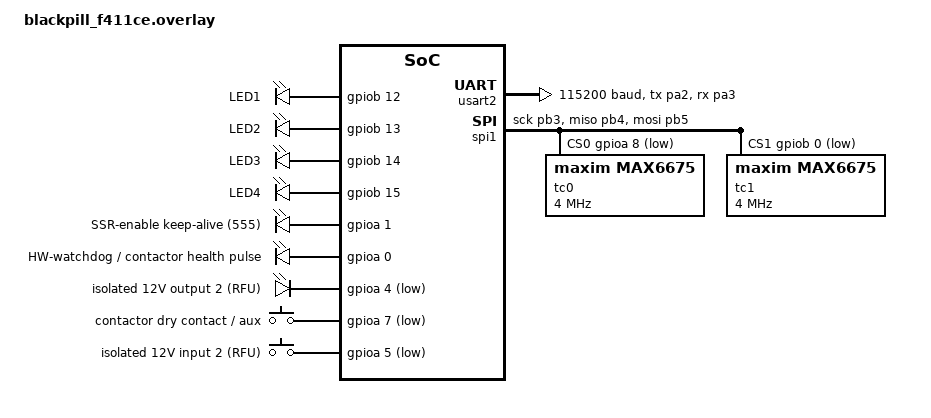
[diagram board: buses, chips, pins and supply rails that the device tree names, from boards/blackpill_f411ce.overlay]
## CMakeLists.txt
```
# Copyright (c) 2026 Guilherme Luiz Moritz
# SPDX-License-Identifier: Apache-2.0
#
# labsc_filament_oven — safety-oriented oven controller (Zephyr + ESP32-C6).
# See docs/ARCHITECTURE.md for the design this firmware implements.

cmake_minimum_required(VERSION 3.20.0)

find_package(Zephyr REQUIRED HINTS $ENV{ZEPHYR_BASE})
project(labsc_filament_oven C)

target_sources(app PRIVATE
  src/main.c
  src/shared.c
  src/fault.c
  src/oven_state.c
  src/contactor.c
  src/diagnostics.c
  src/pid.c
  src/pid_pub.c
  src/pid_thread.c
  src/output_thread.c
  src/watchdog_thread.c
  src/shell_cmds.c
)

# Bench diagnostics consumer. The publication side (src/pid_pub.c) is in every
# image by design — see pid_pub.h; only the reader is optional.
target_sources_ifdef(CONFIG_OVEN_DEBUG app PRIVATE src/oven_debug.c)

# --- Workaround: hal_espressif ESP32-C6 SPI HAL bug --------------------------
# In the hal_espressif revision pinned by this container's Zephyr (main HEAD),
# zephyr/esp32c6/CMakeLists.txt compiles esp_hal_gpspi/spi_hal.c unconditionally
# but gates the per-SoC esp32c6/spi_periph.c (which *defines* spi_periph_signal)
# behind CONFIG_PM_POWER_DOWN_PERIPHERAL_IN_LIGHT_SLEEP — a symbol that does not
# exist for the C6, so it is never true. Result: any C6 SPI build fails to link
# with an undefined reference to spi_periph_signal. The two MAX6675 thermocouple
# readers ride SPI, so we hit it. Add the missing source ourselves.
# Remove once the container's Zephyr/hal_espressif revision fixes this.
if(CONFIG_SOC_SERIES_ESP32C6 AND CONFIG_SPI)
  zephyr_library_sources(
    ${ZEPHYR_HAL_ESPRESSIF_MODULE_DIR}/components/esp_hal_gpspi/${CONFIG_SOC_SERIES}/spi_periph.c)
endif()
```

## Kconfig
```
# Copyright (c) 2026 Guilherme Luiz Moritz
# SPDX-License-Identifier: Apache-2.0
#
# Application Kconfig — bench debug facilities only.
#
# Everything under OVEN_DEBUG is TEST/BENCH ONLY and defaults to 'n', so a field
# image built from prj.conf alone contains none of it: no debug thread, no LED,
# no trace, no preset gains. debug.conf is the only file that turns any of it on
# (architecture, "Test & Validation Plan").

menu "labsc_filament_oven debug facilities"

config OVEN_DEBUG
	bool "Bench debug facilities (NOT for field images)"
	default n
	help
	  Master switch for the bench instrumentation: the status LED, the
	  per-cycle PID trace and the preset bench tuning. Compiles in the
	  debug thread (src/oven_debug.c) at a preemptible priority so it can
	  never delay the two cooperative real-time threads.

	  Leave this off for anything that drives a real oven.

if OVEN_DEBUG

config OVEN_DEBUG_LED
	bool "PID-cycle status LED"
	default y
	depends on DT_HAS_WORLDSEMI_WS2812_I2S_ENABLED
	select LED_STRIP
	help
	  Drive the on-module WS2812 RGB LED as a PID-cycle indicator: a white
	  flash at the start of every control cycle, then red for a fraction of
	  the rest of the cycle proportional to the commanded heater power.

	  Requires the bench DT overlay that instantiates the LED (see
	  debug/<board>.overlay).

config OVEN_DEBUG_LED_LEVEL
	int "Status LED brightness (0-255)"
	default 48
	range 1 255
	depends on OVEN_DEBUG_LED
	help
	  Per-channel WS2812 level. These LEDs are painfully bright at full
	  scale; the default is deliberately dim but clearly visible.

config OVEN_DEBUG_LED_FLASH_MS
	int "White cycle-start flash duration (ms)"
	default 100
	range 1 500
	depends on OVEN_DEBUG_LED
	help
	  Width of the white flash that marks the start of each control cycle.
	  The red power bar occupies the remainder of the cycle
	  (OVEN_PID_PERIOD_MS minus this), so this must stay below the control
	  period; the code BUILD_ASSERTs that.

config OVEN_DEBUG_PID_TRACE
	bool "Per-cycle PID diagnostics trace"
	default y
	depends on LOG
	help
	  Compile the diagnostics capture into the control law (pid.c records
	  the term breakdown into its state) and emit two log lines per control
	  cycle from the debug thread: the loop I/O line and the term-breakdown
	  line.

	  The capture is plain assignment into caller-owned state — no locking,
	  no allocation, nothing that can block the PID thread. With this option
	  off, not one byte of it is compiled in.

config OVEN_DEBUG_PRESET
	bool "Apply bench setpoint and gains at boot"
	default y
	help
	  Seed the shared setpoint and gains at startup so the loop does
	  something observable without an OPC UA client or a shell session.

	  This does NOT arm the oven. The system still boots DISARMED and the
	  Output thread still refuses to pulse the SSR keep-alive until it is
	  armed and fault-free, so a non-zero commanded power energizes nothing.

if OVEN_DEBUG_PRESET

config OVEN_DEBUG_SETPOINT_CC
	int "Bench setpoint (centi-degC)"
	default 6000
	help
	  Must sit inside the plausibility window (OVEN_TEMP_VALID_MIN_CC ..
	  OVEN_TEMP_VALID_MAX_CC) and below the protection-zone absolute limit
	  (OVEN_SENSOR_B_ABS_LIMIT_CC); the code BUILD_ASSERTs both. Default is
	  60.00 degC.

config OVEN_DEBUG_KP_M
	int "Bench proportional gain, x1000"
	default 1000

config OVEN_DEBUG_KI_M
	int "Bench integral gain, x1000"
	default 1000

config OVEN_DEBUG_KD_M
	int "Bench derivative gain, x1000"
	default 0

endif # OVEN_DEBUG_PRESET

endif # OVEN_DEBUG

endmenu

source "Kconfig.zephyr"
```

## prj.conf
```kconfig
# Copyright (c) 2026 Guilherme Luiz Moritz
# SPDX-License-Identifier: Apache-2.0
#
# labsc_filament_oven base configuration. See docs/ARCHITECTURE.md.
#
# ---------------------------------------------------------------------------
# Thread priority audit (architecture §"Thread priority audit").
# All application thread priorities are pinned EXPLICITLY in code
# (K_THREAD_DEFINE), never left to defaults. Cooperative negative priorities
# are used for the two real-time threads so they cannot be preempted by
# background work; the watchdog runs at the lowest preemptible priority so it
# starves first and the hardware watchdog expires — that starvation is the
# detector, by design.
#
#   PID thread      : K_PRIO_COOP(1)  (highest real-time)
#   Output thread   : K_PRIO_COOP(2)  (just below PID)
#   Watchdog thread : K_PRIO_PREEMPT(CONFIG_NUM_PREEMPT_PRIORITIES-1) (lowest)
#   main / log / shell / net : background preemptible
#
# The two RT threads are cooperative so background work cannot preempt them;
# they yield only by blocking (PID on its release semaphore, Output on its
# period sleep). The exact values live in src/oven_threads.h and each thread
# __ASSERTs its own actual priority at startup.
# ---------------------------------------------------------------------------

# --- No dynamic allocation (safety requirement) ------------------------------
# The application allocates nothing on the heap. A tiny pool is kept only
# because some subsystems insist on a non-zero size; the app never calls
# k_malloc.
CONFIG_HEAP_MEM_POOL_SIZE=256

# --- Real-time scheduling ----------------------------------------------------
CONFIG_NUM_COOP_PRIORITIES=16
CONFIG_NUM_PREEMPT_PRIORITIES=16
CONFIG_TIMESLICING=n
CONFIG_MAIN_THREAD_PRIORITY=10

# --- Drivers required by the carrier -----------------------------------------
CONFIG_GPIO=y
CONFIG_SPI=y
CONFIG_SENSOR=y
CONFIG_MAX6675=y
CONFIG_WATCHDOG=y

# --- Diagnostics / robustness ------------------------------------------------
CONFIG_LOG=y
CONFIG_LOG_BACKEND_SHOW_COLOR=n
CONFIG_LOG_MODE_DEFERRED=y
CONFIG_THREAD_NAME=y
CONFIG_THREAD_MONITOR=y
CONFIG_THREAD_STACK_INFO=y
# HW_STACK_PROTECTION gives the MPU (ARM) / PMP (RISC-V) stack guard, which
# supersedes the software STACK_SENTINEL wherever it is available — so the
# sentinel is intentionally not requested (it would be forced off anyway).
CONFIG_HW_STACK_PROTECTION=y
CONFIG_ASSERT=y

# --- Asserts are SOFT: stop driving, keep monitoring -------------------------
# Zephyr's default assert_post_action() panics, which halts the very threads
# that report what went wrong. This project overrides it (src/shared.c) to raise
# a fault instead: latch FAULTED, drop the actuator, stay alive and diagnosable.
#
# ASSERT_TEST is what makes that legal. It removes the CODE_UNREACHABLE that
# Zephyr otherwise emits after the post-action hook, so a custom hook is allowed
# to return instead of aborting. Without it, our override is undefined
# behaviour. Named for its origin in Zephyr's assert tests; it is the supported
# mechanism for a returning hook.
CONFIG_ASSERT_TEST=y

# Zephyr's own "@ file:line" print happens inside the __ASSERT macro, before our
# hook runs, so the hook cannot rate-limit it — and a soft assert on a per-cycle
# path repeats forever. Turn it off: assert_post_action() still receives file and
# line and logs them itself, rate-limited, so nothing is lost.
CONFIG_ASSERT_VERBOSE=n

# --- Latched-fault retention -------------------------------------------------
# The fault record survives a warm reset via a noinit RAM section so the system
# boots into FAULTED after a safety trip (architecture §"Latched fault across
# reboot"). NVS mirroring is future work.
CONFIG_REBOOT=y
CONFIG_CRC=y

# --- Shell is OFF in the base image ------------------------------------------
# The fault-injection harness (debug.conf) is the only place a shell is enabled;
# an interactive shell must not be present in a field build.
CONFIG_SHELL=n
```

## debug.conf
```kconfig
# Copyright (c) 2026 Guilherme Luiz Moritz
# SPDX-License-Identifier: Apache-2.0
#
# Test / bench build ONLY. Adds the shell that the future fault-injection
# harness hangs off (architecture §"Test & Validation Plan"). NEVER ship a
# field image built with this file — an interactive shell on the control unit
# is a safety hazard.
#
#   west build -b <board> . -- -DEXTRA_CONF_FILE=debug.conf

CONFIG_SHELL=y
CONFIG_SHELL_BACKEND_SERIAL=y
CONFIG_KERNEL_SHELL=y
CONFIG_THREAD_ANALYZER=y
CONFIG_THREAD_ANALYZER_USE_LOG=y

# --- Source-level debugging (JTAG) ---
#
# Zephyr defaults to CONFIG_SIZE_OPTIMIZATIONS (-Os), which inlines, reorders
# and elides locals — single-stepping jumps around and variables read
# <optimized out>. -O0 makes the source map 1:1 with the instruction stream.
# Costs image size and stack depth; acceptable here (4 MB flash), and this file
# is bench-only anyway.
CONFIG_NO_OPTIMIZATIONS=y

# OpenOCD's "Zephyr" RTOS plugin — which boards/esp32c6-zephyr.cfg selects —
# needs this symbol table to enumerate threads. Without it you only ever see
# the bare CPU.
CONFIG_DEBUG_THREAD_INFO=y

# --- Bench instrumentation ---------------------------------------------------
# Status LED, per-cycle PID trace and preset bench tuning. See the project
# Kconfig for the individual switches and src/oven_debug.c for what they do.
# The LED needs the matching DT overlay (debug/<board>.overlay), which
# scripts/zephyr-project.sh applies alongside this file.
CONFIG_OVEN_DEBUG=y

# --- Diagnostics output routing ----------------------------------------------
# Send the log stream to the USB-Serial-JTAG (/dev/ttyACM0) instead of the
# console UART, via the chosen zephyr,log-uart node in the debug overlay. On
# this devkit uart0 is a physically different connector.
#
# LOG_BACKEND_UART defaults to 'n' as soon as SHELL_BACKEND_SERIAL is on (the
# shell would carry the logs itself), so it has to be asked for explicitly; and
# the shell's own log backend is turned off so trace lines are not duplicated
# onto the console.
CONFIG_LOG_BACKEND_UART=y
CONFIG_SHELL_LOG_BACKEND=n

# Two trace lines per control cycle, each with ~15 packed arguments. Deferred
# logging needs room for them plus the boot chatter.
CONFIG_LOG_BUFFER_SIZE=4096
CONFIG_LOG_PROCESS_THREAD_STACK_SIZE=2048
```

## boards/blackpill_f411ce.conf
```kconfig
# Board-scoped Kconfig for blackpill_f411ce (STM32F411CE).
#
# Secondary, CONTROL-ONLY target: the F411 has no Wi-Fi, so OPC UA / networking
# is ESP32-C6-only. This target exercises the control + safety core (threads,
# MAX6675 reads, keep-alive/watchdog pulses) on the diversified MCU of the
# dual-socket carrier.
CONFIG_GPIO=y
CONFIG_SPI=y
```

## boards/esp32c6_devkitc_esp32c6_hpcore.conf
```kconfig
# Board-scoped Kconfig for esp32c6_devkitc/esp32c6/hpcore.
#
# The base prj.conf already selects GPIO/SPI/SENSOR/MAX6675/WATCHDOG. This file
# is the place for C6-specific overrides.
#
# Brownout: the architecture ("Boot, Reset, Flashing") requires the brownout
# detector on, treating a brownout reset like any other reset (boot disarmed).
# CONFIG_ESP_BROWNOUT_DET is defined only when hal_espressif's esp_system menu
# is sourced (it is not in this minimal build) and is enabled by the SoC default
# regardless, so it is intentionally NOT overridden here. Re-assert it once the
# esp_system/Wi-Fi path is pulled in by the OPC-UA milestone.
```

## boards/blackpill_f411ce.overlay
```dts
/*
 * Copyright (c) 2026 Guilherme Luiz Moritz
 * SPDX-License-Identifier: Apache-2.0
 *
 * Board overlay: WeAct STM32F411CE "Black Pill" — secondary CONTROL-ONLY target
 * for the labsc_filament_oven controller on the dual-socket carrier. No Wi-Fi,
 * so no OPC UA / networking here; this target exercises the control + safety
 * core on the diversified MCU. See docs/ARCHITECTURE.md and the carrier pin map
 * (labsc_zephyr_lorawan/PINMAP.md).
 *
 * LoRa-free oven variant: the LR1121 node and all USP/lr11xx includes are gone;
 * the shared SPI1 bus carries only the two MAX6675 readers.
 *
 *   LEFT row                          RIGHT row
 *   b0  PB12  LED1                    b6   PB0   TEMP2 CS (tc1 / SENSOR B)
 *   b1  PB13  LED2                    b7   PA7   opto IN1 (contactor aux)
 *   b2  PB14  LED3                    b9   PA5   opto IN2 (RFU / arm button)
 *   b3  PB15  LED4                    b10  PA4   opto OUT2 (RFU)
 *   b4  PA8   TEMP1 CS (tc0/SENSOR A) b11  PA3   USART2 RX (console)
 *   b10 PB3   SPI1 SCK                b12  PA2   USART2 TX (console)
 *   b11 PB4   SPI1 MISO               b13  PA1   SSR-enable keep-alive (555)
 *   b12 PB5   SPI1 MOSI               b14  PA0   HW-watchdog / contactor pulse
 *
 * PA11/PA12 (USB D-/D+) are BANNED from carrier nets, so TEMP1 CS is on PA8
 * (b4-left), not PA12. SPI1 uses the PB3/PB4/PB5 alternate mapping.
 */

#include <zephyr/dt-bindings/input/input-event-codes.h>

/ {
	chosen {
		zephyr,console = &usart2;
		zephyr,shell-uart = &usart2;
	};
	aliases {
		tc0 = &tc0;
		tc1 = &tc1;
		keepalive-out = &keepalive_out;
		hw-wdt-out = &hw_wdt_out;
		opto-out2 = &opto_out2;
		opto-in1 = &opto_in1;
		opto-in2 = &opto_in2;
		led0 = &led1;
		led1 = &led2;
		led2 = &led3;
		led3 = &led4;
	};

	/* Status LEDs — BlackPill-only (no ESP32-C6 neighbour on rows b0-b3). */
	status_leds {
		compatible = "gpio-leds";
		led1: led_1 { gpios = <&gpiob 12 GPIO_ACTIVE_HIGH>; label = "LED1"; };
		led2: led_2 { gpios = <&gpiob 13 GPIO_ACTIVE_HIGH>; label = "LED2"; };
		led3: led_3 { gpios = <&gpiob 14 GPIO_ACTIVE_HIGH>; label = "LED3"; };
		led4: led_4 { gpios = <&gpiob 15 GPIO_ACTIVE_HIGH>; label = "LED4"; };
	};

	/*
	 * Software-toggled safety pulse outputs (NEVER hardware PWM). See the
	 * esp32c6 overlay and docs/ARCHITECTURE.md §"HARD DESIGN RULE".
	 */
	failsafe_outputs {
		compatible = "gpio-leds";
		keepalive_out: keepalive {
			gpios = <&gpioa 1 GPIO_ACTIVE_HIGH>;    /* PA1, b13-right (D21) */
			label = "SSR-enable keep-alive (555)";
		};
		hw_wdt_out: hw-wdt {
			gpios = <&gpioa 0 GPIO_ACTIVE_HIGH>;    /* PA0, b14-right (D20) */
			label = "HW-watchdog / contactor health pulse";
		};
	};

	opto_outputs {
		compatible = "gpio-leds";
		opto_out2: out2 {
			gpios = <&gpioa 4 GPIO_ACTIVE_LOW>;     /* PA4, b10-right (D15) */
			label = "isolated 12V output 2 (RFU)";
		};
	};

	/* ACTIVE LOW with external pull-ups: opto failure reads as asserted. */
	opto_inputs {
		compatible = "gpio-keys";
		opto_in1: in1 {
			gpios = <&gpioa 7 (GPIO_ACTIVE_LOW | GPIO_PULL_UP)>;   /* PA7, b7-right (D3) */
			label = "contactor dry contact / aux";
			zephyr,code = <INPUT_KEY_0>;
		};
		opto_in2: in2 {
			gpios = <&gpioa 5 (GPIO_ACTIVE_LOW | GPIO_PULL_UP)>;   /* PA5, b9-right (D23) */
			label = "isolated 12V input 2 (RFU)";
			zephyr,code = <INPUT_KEY_1>;
		};
	};
};

/* USART2 (PA2/PA3) is the only carrier-reachable UART — the console. */
&usart1 {
	status = "disabled";
};

&usart2 {
	pinctrl-0 = <&usart2_tx_pa2 &usart2_rx_pa3>;
	pinctrl-names = "default";
	current-speed = <115200>;
	status = "okay";
};

&spi1 {
	status = "okay";
	/* PB3/PB4/PB5 alternate mapping — one contiguous bus run on the carrier. */
	pinctrl-0 = <&spi1_sck_pb3 &spi1_miso_pb4 &spi1_mosi_pb5>;
	pinctrl-names = "default";

	cs-gpios = <&gpioa 8 GPIO_ACTIVE_LOW>,   /* reg 0: TEMP1 (PA8, b4-left)  -> tc0 / SENSOR A */
		   <&gpiob 0 GPIO_ACTIVE_LOW>;   /* reg 1: TEMP2 (PB0, b6-right) -> tc1 / SENSOR B */

	tc0: max6675@0 {
		compatible = "maxim,max6675";
		reg = <0>;
		spi-max-frequency = <DT_FREQ_M(4)>;
	};

	tc1: max6675@1 {
		compatible = "maxim,max6675";
		reg = <1>;
		spi-max-frequency = <DT_FREQ_M(4)>;
	};
};

/*
 * Bare (non-MCUboot) flash layout: a large code partition plus a 128 K storage
 * sector (the smallest independently erasable unit at the top of STM32F4 flash)
 * reserved for the future NVS mirror of the latched-fault record.
 */
/ {
	chosen {
		zephyr,code-partition = &slot0_partition;
	};
};

&flash0 {
	/delete-node/ partitions;

	partitions {
		compatible = "fixed-partitions";
		#address-cells = <1>;
		#size-cells = <1>;

		slot0_partition: partition@0 {
			label = "image-0";
			reg = <0x00000000 DT_SIZE_K(384)>;
		};
		storage_partition: partition@60000 {
			label = "storage";
			reg = <0x00060000 DT_SIZE_K(128)>;
		};
	};
};
```

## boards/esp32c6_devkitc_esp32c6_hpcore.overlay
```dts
/*
 * Copyright (c) 2026 Guilherme Luiz Moritz
 * SPDX-License-Identifier: Apache-2.0
 *
 * Board overlay: ESP32-C6-DevKitC (interim host) for the labsc_filament_oven
 * controller on the dual-socket carrier. See docs/ARCHITECTURE.md.
 *
 * This is the LoRa-free oven variant of the carrier overlay: the LR1121 node
 * and all USP/lr11xx includes are removed; the shared SPI bus now carries only
 * the two MAX6675 thermocouple readers. GPIO assignments are unchanged from the
 * carrier pin map (labsc_zephyr_lorawan/PINMAP.md) — every net still lands on
 * both the C6 and the BlackPill socket.
 *
 * Carrier constraints still honoured here:
 *   - GPIO12/13 native USB               -> unused
 *   - GPIO8 strapping + onboard RGB LED  -> unrouted (indicator parity)
 *   - GPIO9 strapping                    -> unused
 *   - GPIO15 JTAG-source strap           -> active-low OUTPUT only (OPTO_OUT2)
 *   - GPIO16 ROM UART TX                 -> console, output-only
 *
 * Role assignment (architecture §"Role separation"). The oven is two chambers
 * with a fan moving air from the heated one into the filament one:
 *
 *   tc0 = TEMP1 (D4) = SENSOR A = FILAMENT CHAMBER (the cooler, downstream one)
 *                      control zone, PID input.
 *   tc1 = TEMP2 (D2) = SENSOR B = HEAT CHAMBER (where the heater is, hottest)
 *                      protection zone, absolute-limit only, never read by the PID.
 *
 * DO NOT SWAP THESE AT THE CONNECTORS. The protection sensor belongs at the
 * hottest point, and this assignment is also what makes fan failure a covered
 * failure: with the fan stopped the heat chamber climbs while the filament
 * chamber cools, the PID reads "cold" and commands full power, and tc1 trips the
 * absolute limit. Reversed, that same sequence is an undetected runaway.
 * Software cannot detect the swap at a cold start — key and label the connectors.
 */

#include <zephyr/dt-bindings/pinctrl/esp32c6-pinctrl.h>
#include <zephyr/dt-bindings/input/input-event-codes.h>

/ {
	aliases {
		tc0 = &tc0;               /* SENSOR A — control */
		tc1 = &tc1;               /* SENSOR B — protection */
		keepalive-out = &keepalive_out;   /* SSR-enable pulse (555) */
		hw-wdt-out = &hw_wdt_out;          /* external HW-watchdog / contactor pulse */
		opto-out2 = &opto_out2;
		opto-in1 = &opto_in1;              /* contactor dry contact / aux */
		opto-in2 = &opto_in2;              /* RFU — arm-button candidate */
	};

	/*
	 * Safety pulse outputs. Both are toggled from SOFTWARE only — never a
	 * hardware PWM/LEDC/RMT peripheral. A hung CPU keeps hardware PWM running
	 * forever and would silently defeat the missing-pulse detectors
	 * (architecture §"HARD DESIGN RULE"). gpio-leds is reused only as a
	 * generic GPIO-output binding.
	 *
	 *   keepalive_out : SSR-enable. 120 Hz keep-alive from the Output thread,
	 *                   gated on ARMED + PID freshness + fault word. Stop -> 555
	 *                   times out -> SSR gate power removed (layer 4).
	 *   hw_wdt_out    : health pulse from the Watchdog thread, gated on overall
	 *                   liveness + fault word == 0. Feeds the external hardware
	 *                   watchdog (layer 3) and the contactor-enable missing-pulse
	 *                   detector (layer 5), which re-arms only via the physical
	 *                   button.
	 */
	failsafe_outputs {
		compatible = "gpio-leds";
		keepalive_out: keepalive {
			gpios = <&gpio0 21 GPIO_ACTIVE_HIGH>;   /* D21, b13-right (PA1) */
			label = "SSR-enable keep-alive (555)";
		};
		hw_wdt_out: hw-wdt {
			gpios = <&gpio0 20 GPIO_ACTIVE_HIGH>;   /* D20, b14-right (PA0) */
			label = "HW-watchdog / contactor health pulse";
		};
	};

	/*
	 * Isolated 12 V open-drain output. OUT2 sits on D15 (JTAG-source strap):
	 * driven ACTIVE LOW into the opto with an external pull-up, so Hi-Z at reset
	 * = pin high = strap satisfied AND output inactive. Never an input.
	 */
	opto_outputs {
		compatible = "gpio-leds";
		opto_out2: out2 {
			gpios = <&gpio0 15 GPIO_ACTIVE_LOW>;    /* D15, b10-right (PA4) */
			label = "isolated 12V output 2 (RFU)";
		};
	};

	/*
	 * Optocoupled dry-contact inputs: a phototransistor grounding an external
	 * pull-up, read ACTIVE LOW (contact closed -> LED lit -> transistor
	 * conducts -> line low).
	 *
	 * CORRECTION: this comment used to claim that a failed or unpowered
	 * optocoupler reads as ASSERTED, i.e. that the sense fails toward alarm.
	 * That is NOT true of this topology — a dead phototransistor, a burnt LED
	 * or a broken wire leaves the pull-up in charge and reads DEASSERTED. The
	 * part can fail either way and no assumption about its resting level is
	 * safe.
	 *
	 * Nothing in the firmware relies on one. The interlock sequence requires
	 * the feedback to CHANGE on command before the oven may arm, which catches
	 * a sensor stuck at either level (architecture §"Contactor feedback
	 * failure modes"; src/contactor.h).
	 *
	 * Validation-only via gpio-keys; no input driver is enabled.
	 */
	opto_inputs {
		compatible = "gpio-keys";
		opto_in1: in1 {
			gpios = <&gpio0 3 (GPIO_ACTIVE_LOW | GPIO_PULL_UP)>;    /* D3, b7-right (PA7) */
			label = "contactor dry contact / aux";
			zephyr,code = <INPUT_KEY_0>;
		};
		opto_in2: in2 {
			gpios = <&gpio0 23 (GPIO_ACTIVE_LOW | GPIO_PULL_UP)>;   /* D23, b11-right (PA5) */
			label = "isolated 12V input 2 (RFU)";
			zephyr,code = <INPUT_KEY_1>;
		};
	};
};

/*
 * Shared SPI bus for the two MAX6675 readers: SCLK=GPIO6, MISO=GPIO7,
 * MOSI=GPIO0 (unused by the read-only MAX6675 but part of the bus pinctrl).
 */
&pinctrl {
	spim2_tc: spim2_tc {
		group1 {
			pinmux = <SPIM2_MISO_GPIO7>,
				 <SPIM2_SCLK_GPIO6>;
		};
		group2 {
			pinmux = <SPIM2_MOSI_GPIO0>;
			output-low;
		};
	};
};

/* i2c0 shares GPIO6/GPIO7 with spi2; disable so the TC bus owns them. */
&i2c0 {
	status = "disabled";
};

/*
 * Radios are off for the control/bootstrap milestone. The OPC-UA-over-Wi-Fi
 * milestone re-enables &wifi; leave it disabled until then to keep the RAM
 * footprint honest.
 */
&wifi {
	status = "disabled";
};
&esp32_bt_hci {
	status = "disabled";
};
&ieee802154 {
	status = "disabled";
};

&spi2 {
	status = "okay";
	pinctrl-0 = <&spim2_tc>;
	pinctrl-names = "default";

	/*
	 * One CS per device, indexed by each child's reg. Separate CS lines with
	 * independent pull-ups so a floating CS during reset cannot leave a
	 * converter driving MISO (architecture §"Shared-bus common-cause").
	 * Neither CS sits on a strapping pin.
	 */
	cs-gpios = <&gpio0 4 GPIO_ACTIVE_LOW>,   /* reg 0: TEMP1 (D4, b8-left)  -> tc0 / SENSOR A */
		   <&gpio0 2 GPIO_ACTIVE_LOW>;   /* reg 1: TEMP2 (D2, b6-right) -> tc1 / SENSOR B */

	/*
	 * Two MAX6675 K-type thermocouple-to-digital converters. Read-only
	 * (SCK + SO + CS, no MOSI); SO tri-states when deselected. Conversion
	 * ~0.17-0.22 s, comfortably inside the 500 ms PID period. NOTE: MAX6675
	 * detects OPEN thermocouple only (no short-to-GND/VCC) — the protection
	 * sensor (tc1) would ideally be a MAX31855/31856; tracked in SAFETY-STATUS.
	 */
	/* SENSOR A — filament chamber (cool side). PID control input. */
	tc0: max6675@0 {
		compatible = "maxim,max6675";
		reg = <0>;
		spi-max-frequency = <DT_FREQ_M(4)>;
	};

	/* SENSOR B — heat chamber (hot side). Absolute safety limit only. */
	tc1: max6675@1 {
		compatible = "maxim,max6675";
		reg = <1>;
		spi-max-frequency = <DT_FREQ_M(4)>;
	};
};
```

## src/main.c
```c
/*
 * Copyright (c) 2026 Guilherme Luiz Moritz
 * SPDX-License-Identifier: Apache-2.0
 *
 * labsc_filament_oven — application entry.
 *
 * Responsibilities (architecture, "Boot, Reset, Flashing" + "Safe State"):
 *   - Never boot armable. main() leaves the state in INIT; only the Watchdog
 *     thread's interlock sequence can advance it (see oven_state.h), and only
 *     after a human has closed the contactor by hand.
 *   - Restore any latched fault so a safety trip survives the reboot.
 *   - Configure the field I/O, verify every required device, then release the
 *     PID / Output / Watchdog threads.
 *
 * After init, main() drops to the lowest useful role: a slow status heartbeat.
 * The real work lives in the three threads; main holds no safety responsibility.
 */

#include "shared.h"
#include "fault.h"
#include "oven_state.h"
#include "oven_threads.h"
#include "oven_debug.h"
#include "contactor.h"
#include "diagnostics.h"

#include <zephyr/kernel.h>
#include <zephyr/device.h>
#include <zephyr/drivers/gpio.h>
#include <zephyr/logging/log.h>

LOG_MODULE_REGISTER(main, LOG_LEVEL_INF);

#define HEARTBEAT_PERIOD_MS   (1000U)

/* Field I/O owned by main (the threads own the two safety pulse pins). */
static const struct gpio_dt_spec s_opto_out2 =
	GPIO_DT_SPEC_GET(DT_ALIAS(opto_out2), gpios);
static const struct gpio_dt_spec s_opto_in1 =
	GPIO_DT_SPEC_GET(DT_ALIAS(opto_in1), gpios);
static const struct gpio_dt_spec s_opto_in2 =
	GPIO_DT_SPEC_GET(DT_ALIAS(opto_in2), gpios);

/* Status LEDs are BlackPill-only; the C6 has none (uses its RGB, not driven). */
#if DT_NODE_EXISTS(DT_ALIAS(led0))
static const struct gpio_dt_spec s_led0 = GPIO_DT_SPEC_GET(DT_ALIAS(led0), gpios);
#define OVEN_HAS_LED0 1
#else
#define OVEN_HAS_LED0 0
#endif

static bool configure_field_io(void)
{
	bool ok = true;

	if (gpio_is_ready_dt(&s_opto_out2)) {
		(void)gpio_pin_configure_dt(&s_opto_out2, GPIO_OUTPUT_INACTIVE);
	} else {
		ok = false;
	}

	if (gpio_is_ready_dt(&s_opto_in1)) {
		(void)gpio_pin_configure_dt(&s_opto_in1, GPIO_INPUT);
	} else {
		ok = false;
	}

	if (gpio_is_ready_dt(&s_opto_in2)) {
		(void)gpio_pin_configure_dt(&s_opto_in2, GPIO_INPUT);
	} else {
		ok = false;
	}

#if OVEN_HAS_LED0
	if (gpio_is_ready_dt(&s_led0)) {
		(void)gpio_pin_configure_dt(&s_led0, GPIO_OUTPUT_INACTIVE);
	}
#endif

	return ok;
}

static void restore_latched_fault(void)
{
	uint32_t cause = 0U;

	if (fault_record_load(&cause)) {
		LOG_ERR("Latched fault restored: cause=0x%08x -> booting FAULTED",
			cause);
		fault_raise(cause | (uint32_t)OVEN_FAULT_RESTORED);
	}
}

static void verify_devices(void)
{
	if (!pid_devices_ready()) {
		LOG_ERR("thermocouple device(s) not ready");
		fault_raise((uint32_t)OVEN_FAULT_DEVICE_INIT);
	}
	if (!output_devices_ready()) {
		LOG_ERR("keep-alive output not ready");
		fault_raise((uint32_t)OVEN_FAULT_DEVICE_INIT);
	}
	if (!watchdog_devices_ready()) {
		LOG_ERR("hw-wdt output not ready");
		fault_raise((uint32_t)OVEN_FAULT_DEVICE_INIT);
	}
}

static void heartbeat(void)
{
	enum oven_state st = oven_state_get();

#if OVEN_HAS_LED0
	if (gpio_is_ready_dt(&s_led0)) {
		(void)gpio_pin_toggle_dt(&s_led0);
	}
#endif

	LOG_INF("state=%s fault=0x%08x filament=%d.%02d C heat=%d.%02d C hp=%ld pid=%ld out=%ld",
		oven_state_name(st), fault_word_get(),
		(int)(atomic_get(&g_temp_a_cc) / OVEN_CENTI),
		(int)(atomic_get(&g_temp_a_cc) % OVEN_CENTI),
		(int)(atomic_get(&g_temp_b_cc) / OVEN_CENTI),
		(int)(atomic_get(&g_temp_b_cc) % OVEN_CENTI),
		(long)atomic_get(&g_heater_power),
		(long)atomic_get(&g_pid_seq),
		(long)atomic_get(&g_output_seq));
}

int main(void)
{
	LOG_INF("labsc_filament_oven — control/safety skeleton");

	/* 1. Restore a latched fault before anything can arm. */
	restore_latched_fault();

	/* 2. Configure field I/O; a missing field pin is a device-init fault. */
	if (!configure_field_io()) {
		LOG_ERR("field I/O configuration failed");
		fault_raise((uint32_t)OVEN_FAULT_DEVICE_INIT);
	}

	/* 3. Verify the thread-owned devices. */
	verify_devices();

	/*
	 * 3b. Prove the power path starts OPEN before this firmware becomes
	 * armable. A contactor already closed at boot cannot have been closed by
	 * us — no pulse train has run yet — so it is welded, stuck, or the
	 * feedback is dead. On failure this latches FAULTED, and since arming is
	 * refused while any fault is latched, the only way out is a reboot with
	 * the contactor genuinely open.
	 */
	(void)contactor_boot_check();

	/* 3c. Clear diagnostic history before the first control cycle. */
	diag_reset();

	/* 4. Start the 500 ms PID release timer. */
	pid_thread_start();

	/*
	 * 5. NOT a state transition any more. The system leaves INIT only when
	 * the Watchdog thread has held its health pulse silent for the quiet
	 * window with the contactor open (-> AWAIT_CONTACTOR), and reaches
	 * DISARMED only once it has watched the operator close the interlock by
	 * hand. main() cannot grant either; see oven_state.h.
	 */

	/*
	 * 5b. Bench instrumentation, if this image has any. Empty inline in a
	 * field build. Runs before the threads are released so the first control
	 * cycle already sees any preset tuning. Arms nothing.
	 */
	oven_debug_init();

	/* 6. Release the threads. */
	(void)atomic_set(&g_init_done, 1);

	LOG_INF("init complete: state=%s fault=0x%08x",
		oven_state_name(oven_state_get()), fault_word_get());

	/* 7. Slow status heartbeat; no safety role. */
	for (;;) {
		heartbeat();
		k_sleep(K_MSEC(HEARTBEAT_PERIOD_MS));
	}

	return 0;
}
```

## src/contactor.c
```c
/*
 * Copyright (c) 2026 Guilherme Luiz Moritz
 * SPDX-License-Identifier: Apache-2.0
 *
 * Contactor feedback. See contactor.h for the fail-safe sense.
 */

#include "contactor.h"
#include "shared.h"

#include <zephyr/kernel.h>
#include <zephyr/device.h>
#include <zephyr/drivers/gpio.h>
#include <zephyr/logging/log.h>

LOG_MODULE_REGISTER(contactor, LOG_LEVEL_INF);

/*
 * Boot check sampling. Spread over enough time to outlast contact bounce and
 * opto settling, with every sample required to agree.
 */
#define BOOT_SAMPLES        (16U)
#define BOOT_SAMPLE_GAP_MS  (5U)      /* 16 x 5 ms = 80 ms of agreement */

static const struct gpio_dt_spec s_feedback =
	GPIO_DT_SPEC_GET(DT_ALIAS(opto_in1), gpios);

bool contactor_devices_ready(void)
{
	return gpio_is_ready_dt(&s_feedback);
}

bool contactor_is_closed(void)
{
	int val;

	/*
	 * A read error is treated as CLOSED, for the same reason the electrical
	 * sense is inverted: not knowing is not permission to heat.
	 */
	val = gpio_pin_get_dt(&s_feedback);
	if (val < 0) {
		return true;
	}

	return (val != 0);
}

bool contactor_boot_check(void)
{
	if (!contactor_devices_ready()) {
		LOG_ERR("contactor feedback not ready — cannot prove the power "
			"path is open");
		fault_raise((uint32_t)OVEN_FAULT_CONTACTOR_WELD |
			    (uint32_t)OVEN_FAULT_DEVICE_INIT);
		return false;
	}

	for (uint32_t i = 0U; i < BOOT_SAMPLES; i++) {
		if (contactor_is_closed()) {
			LOG_ERR("contactor CLOSED at boot (sample %u/%u) — welded, "
				"stuck, or feedback lost; refusing to become armable",
				i + 1U, BOOT_SAMPLES);
			fault_raise((uint32_t)OVEN_FAULT_CONTACTOR_WELD);
			return false;
		}
		k_sleep(K_MSEC(BOOT_SAMPLE_GAP_MS));
	}

	LOG_INF("contactor open at boot — power path proven clear");
	return true;
}
```

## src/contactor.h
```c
/*
 * Copyright (c) 2026 Guilherme Luiz Moritz
 * SPDX-License-Identifier: Apache-2.0
 *
 * Contactor feedback — the dry contact on opto_in1, read as proof of what the
 * power path is actually doing rather than what the firmware believes it
 * commanded.
 *
 * TRUST NO LEVEL. The sense is a phototransistor grounding an external pull-up,
 * read ACTIVE LOW: contact closed -> LED lit -> transistor conducts -> line low.
 * It can fail EITHER WAY —
 *
 *   transistor shorted, or the line shorted to ground -> reads always CLOSED
 *   transistor open, LED dead, or a broken wire       -> reads always OPEN
 *
 * — so there is no "safe" direction to assume, and this file deliberately
 * assumes neither. An earlier version of this comment (and of the board overlay)
 * claimed a failed opto reads as CLOSED. That claim is unfounded; do not
 * reintroduce it, and do not build anything on top of one.
 *
 * What makes the feedback trustworthy is not its resting level but the fact that
 * the interlock sequence REQUIRES IT TO CHANGE, on command, before the oven may
 * arm: silent watchdog must read open, then a hand-closed contactor must be
 * observed going closed. A sensor stuck at either level fails one of those two
 * phases and the oven never becomes armable. See oven_state.h for the sequence
 * and ARCHITECTURE.md for the per-failure analysis.
 *
 * The one thing this file does assume is that a READ ERROR is not permission to
 * heat — see contactor_is_closed().
 */

#ifndef OVEN_CONTACTOR_H_
#define OVEN_CONTACTOR_H_

#include <stdbool.h>

/*
 * True when the contactor reads CLOSED — or when the feedback is unavailable,
 * which is deliberately indistinguishable. Lock-free; a single GPIO read.
 */
bool contactor_is_closed(void);

/* Feedback input present and usable. */
bool contactor_devices_ready(void);

/*
 * Power-on proof that the power path starts open.
 *
 * The firmware must only come up ready to arm if it observed the contactor OPEN
 * at boot. A contactor already closed before any pulse train has been produced
 * cannot have been closed by this firmware — it is welded, stuck, or the
 * feedback is dead, and none of those may be allowed to reach ARMED.
 *
 * Returns true if the contactor was observed open. On false it has already
 * raised OVEN_FAULT_CONTACTOR_WELD, which latches FAULTED and makes arming
 * impossible until the fault is cleared by a reboot with the contactor open.
 *
 * Called by main() before leaving INIT. Samples repeatedly and requires EVERY
 * sample to read open, so a bouncing or intermittent contact fails the check.
 */
bool contactor_boot_check(void);

#endif /* OVEN_CONTACTOR_H_ */
```

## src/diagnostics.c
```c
/*
 * Copyright (c) 2026 Guilherme Luiz Moritz
 * SPDX-License-Identifier: Apache-2.0
 *
 * Process-response diagnostics. See diagnostics.h for what these are for and
 * why they are deliberately blunt.
 */

#include "diagnostics.h"
#include "shared.h"

#include <zephyr/kernel.h>
#include <zephyr/logging/log.h>

LOG_MODULE_REGISTER(oven_diag, LOG_LEVEL_INF);

/* Cycles per second of wall time, from the control period. */
#define CYCLES_PER_S            (1000U / OVEN_PID_PERIOD_MS)

/*
 * ---- 1. Frozen reading ----------------------------------------------------
 *
 * A reading that is BIT-IDENTICAL for this long is not a temperature, it is a
 * dead converter, a stuck bus, or a driver returning its last buffer. The
 * MAX6675 quantises to 0.25 degC, and no real thermocouple in a real enclosure
 * holds one quantisation step for minutes — thermal and electrical noise dither
 * the least significant bit continuously. (Watch the bench trace: the filament
 * chamber wanders across 24.00/24.25/24.50 within seconds.)
 *
 * This is the check that catches the failure the MAX6675 cannot report: it has
 * open-thermocouple detection only, so a converter that answers with a constant
 * — including a constant 0.00 degC from an absent or unselected device — passes
 * every range and validity test in the acquisition path.
 *
 * [VERIFY] the window against a real oven at steady state. Five minutes is
 * chosen to be far longer than any plausible quiet period; shorten it only with
 * evidence, because a false trip here stops a healthy oven mid-batch.
 */
#define DIAG_FROZEN_WINDOW_S    (300U)                      /* 5 minutes */
#define DIAG_FROZEN_CYCLES      (DIAG_FROZEN_WINDOW_S * CYCLES_PER_S)

/*
 * ---- Evaluation window for the two windowed checks ------------------------
 * Long enough that thermal lag and sensor noise cannot fake a trend, short
 * enough to catch a runaway well before the absolute limit does.
 */
#define DIAG_WINDOW_S           (60U)                       /* 1 minute */
#define DIAG_WINDOW_CYCLES      (DIAG_WINDOW_S * CYCLES_PER_S)

/*
 * ---- 2. Zone inversion ----------------------------------------------------
 *
 * Heat only reaches the filament chamber from the heat chamber, carried by the
 * fan. So WHENEVER THE FILAMENT CHAMBER IS RISING, the heat chamber must be
 * hotter than it — that is not a heuristic, it is the direction heat flows.
 *
 * Gating the check on "filament rising" is what makes it usable. A blanket
 * "heat >= filament" would fire on every cold start (both at ambient, noise
 * decides the order) and on every cool-down (the heat chamber sheds heat first).
 * Restricted to the moment the physics actually guarantees the ordering, it has
 * no legitimate counterexample.
 *
 * This is also the only software check that can catch the A<->B connector swap,
 * which the architecture otherwise lists as "mechanical prevention only": with
 * the sensors exchanged, the "heat chamber" input reports the cooler zone and
 * the inversion is permanent once heating starts.
 *
 * TWO GATES, both learned the hard way on the bench:
 *
 *   1. The rise must be REAL, not noise. An early version used one MAX6675 step
 *      (0.25 degC) as "rising" and faulted an idle oven inside two minutes: the
 *      filament reading dithers by a step continuously, so the threshold was
 *      measuring quantisation. 2 degC over the window is a trend.
 *
 *   2. We must have been HEATING. The ordering is guaranteed by heat flowing
 *      from the heat chamber through the fan — nothing else. A room warming up
 *      raises both zones with no such flow, and about that case this check has
 *      no opinion and must stay silent.
 */
#define DIAG_RISE_CC            (200)    /* 2.00 degC — a trend, not a step */
#define DIAG_INVERSION_CC       (500)    /* 5.00 degC of margin             */

/*
 * ---- 3. Powered but flat --------------------------------------------------
 *
 * Sustained near-full power that produces no rise in the heat chamber means the
 * commanded energy is not arriving where the sensor is: heater open, SSR not
 * conducting, contactor open, or the protection thermocouple detached from the
 * zone it is supposed to be measuring.
 *
 * Deliberately requires NEAR-FULL power for the whole window. At moderate duty
 * near setpoint a flat temperature is exactly correct behaviour, and must not
 * fault.
 */
#define DIAG_ONFLAT_POWER_MIN   ((OVEN_HEATER_MAX_POWER * 9U) / 10U)   /* 90% */
#define DIAG_ONFLAT_RISE_CC     (100)    /* 1.00 degC over the window      */

struct frozen_track {
	oven_temp_cc_t last;
	uint32_t cycles;
	bool seeded;
	bool reported;
};

static struct frozen_track s_frozen_filament;
static struct frozen_track s_frozen_heat;

static uint32_t s_window_cycles;
static oven_temp_cc_t s_filament_at_start;
static oven_temp_cc_t s_heat_at_start;
static bool s_window_seeded;
static bool s_powered_all_window;
static bool s_heated_any_window;

void diag_reset(void)
{
	s_frozen_filament = (struct frozen_track){0};
	s_frozen_heat = (struct frozen_track){0};
	s_window_cycles = 0U;
	s_filament_at_start = 0;
	s_heat_at_start = 0;
	s_window_seeded = false;
	s_powered_all_window = true;
	s_heated_any_window = false;
}

/*
 * One sensor's frozen-reading check. `name` is a literal, so logging it is safe
 * under deferred logging.
 */
static void check_frozen(struct frozen_track *t, oven_temp_cc_t value,
			 bool valid, const char *name)
{
	if (!valid) {
		/* Acquisition already faulted; don't also age the history. */
		return;
	}

	if (!t->seeded) {
		t->last = value;
		t->cycles = 0U;
		t->seeded = true;
		return;
	}

	if (value != t->last) {
		t->last = value;
		t->cycles = 0U;
		t->reported = false;
		return;
	}

	t->cycles++;
	if ((t->cycles >= DIAG_FROZEN_CYCLES) && !t->reported) {
		t->reported = true;
		LOG_ERR("%s reading frozen at %d cC for %u s — dead converter, "
			"stuck bus, or absent sensor", name, (int)value,
			DIAG_FROZEN_WINDOW_S);
		fault_raise((uint32_t)OVEN_FAULT_PROCESS_DIAG);
	}
}

void diag_update(oven_temp_cc_t filament_cc, bool filament_ok,
		 oven_temp_cc_t heat_cc, bool heat_ok,
		 uint32_t power, bool heating)
{
	/* ---- 1. Frozen readings: always checked, in every state. ---- */
	check_frozen(&s_frozen_filament, filament_cc, filament_ok, "filament chamber");
	check_frozen(&s_frozen_heat, heat_cc, heat_ok, "heat chamber");

	/*
	 * The windowed checks compare both zones, so a cycle in which either read
	 * failed cannot contribute. Restart the window rather than carry a gap.
	 */
	if (!filament_ok || !heat_ok) {
		s_window_seeded = false;
		return;
	}

	if (!s_window_seeded) {
		s_filament_at_start = filament_cc;
		s_heat_at_start = heat_cc;
		s_window_cycles = 0U;
		s_powered_all_window = true;
		s_heated_any_window = false;
		s_window_seeded = true;
		return;
	}

	/* Full power for the WHOLE window (check 3) vs any heating at all (check 2). */
	if (!heating || (power < DIAG_ONFLAT_POWER_MIN)) {
		s_powered_all_window = false;
	}
	if (heating && (power > 0U)) {
		s_heated_any_window = true;
	}

	s_window_cycles++;
	if (s_window_cycles < DIAG_WINDOW_CYCLES) {
		return;
	}

	/* ---- 2. Zone inversion: only while heating AND the filament rises. ---- */
	if (s_heated_any_window &&
	    ((filament_cc - s_filament_at_start) >= DIAG_RISE_CC)) {
		if (heat_cc < (filament_cc + DIAG_INVERSION_CC)) {
			LOG_ERR("filament chamber rising (%d -> %d cC) but heat "
				"chamber only %d cC — zones inverted, sensors "
				"swapped, or heat-chamber sensor detached",
				(int)s_filament_at_start, (int)filament_cc,
				(int)heat_cc);
			fault_raise((uint32_t)OVEN_FAULT_PROCESS_DIAG);
		}
	}

	/* ---- 3. Powered but flat. ---- */
	if (s_powered_all_window &&
	    ((heat_cc - s_heat_at_start) < DIAG_ONFLAT_RISE_CC)) {
		LOG_ERR("heater commanded >= %u/%u for %u s but heat chamber "
			"moved only %d cC (%d -> %d) — no energy arriving",
			DIAG_ONFLAT_POWER_MIN, (uint32_t)OVEN_HEATER_MAX_POWER,
			DIAG_WINDOW_S, (int)(heat_cc - s_heat_at_start),
			(int)s_heat_at_start, (int)heat_cc);
		fault_raise((uint32_t)OVEN_FAULT_PROCESS_DIAG);
	}

	/* Roll the window forward. */
	s_window_seeded = false;
}
```

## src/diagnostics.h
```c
/*
 * Copyright (c) 2026 Guilherme Luiz Moritz
 * SPDX-License-Identifier: Apache-2.0
 *
 * Process-response diagnostics (architecture, "Process diagnostics"; the TODO at
 * step 5 of the PID cycle).
 *
 * These are the checks that do NOT depend on a sensor being honest about its own
 * health. A thermocouple converter reporting a plausible, in-range, wrong number
 * passes every validity test in the acquisition path — the MAX6675 cannot even
 * detect a short. What it cannot do is make the OVEN behave like the reading
 * says it should. These checks compare the readings against physics and against
 * each other, and fault on the disagreement.
 *
 * All three raise OVEN_FAULT_PROCESS_DIAG, which latches FAULTED like any other
 * fault: stop driving, keep monitoring.
 *
 * DESIGN BIAS: every check here is windowed and generously toleranced. A process
 * diagnostic that cries wolf gets switched off by the people it protects, so
 * these are tuned to catch gross, sustained, unambiguous misbehaviour and to say
 * nothing about anything marginal. Missing a subtle fault is acceptable here;
 * these are a backstop behind the absolute limit, not a replacement for it.
 */

#ifndef OVEN_DIAGNOSTICS_H_
#define OVEN_DIAGNOSTICS_H_

#include "shared.h"

#include <stdint.h>
#include <stdbool.h>

/*
 * Advance the diagnostics by one control cycle. Called unconditionally from the
 * PID thread; like the rest of that path it has no debug/release variant.
 *
 *   filament_cc / filament_ok : SENSOR A (control zone) and whether this cycle's
 *                               read was valid.
 *   heat_cc / heat_ok         : SENSOR B (protection zone), likewise.
 *   power                     : commanded heater power this cycle, half-cycles.
 *   heating                   : true only when the controller is actually
 *                               allowed to act (ARMED, fault-free, valid input).
 *
 * A sensor whose read failed this cycle is simply not evaluated; the acquisition
 * path already raised its own fault for that.
 */
void diag_update(oven_temp_cc_t filament_cc, bool filament_ok,
		 oven_temp_cc_t heat_cc, bool heat_ok,
		 uint32_t power, bool heating);

/* Reset all diagnostic history. Called once from main() before the loop runs. */
void diag_reset(void);

#endif /* OVEN_DIAGNOSTICS_H_ */
```

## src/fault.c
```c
/*
 * Copyright (c) 2026 Guilherme Luiz Moritz
 * SPDX-License-Identifier: Apache-2.0
 */

#include "fault.h"

#include <zephyr/kernel.h>
#include <zephyr/sys/crc.h>

#define FAULT_RECORD_MAGIC   (0x0F3EA17DU)   /* "safe fault" marker */

struct fault_record {
	uint32_t magic;
	uint32_t cause;       /* fault-word bits latched at trip time */
	uint32_t trip_count;  /* cumulative trips since last power-on  */
	uint32_t crc;         /* crc32 over magic|cause|trip_count     */
};

/* noinit: preserved across a warm reset, uninitialised at power-on. */
static struct fault_record s_rec __noinit;

static uint32_t record_crc(const struct fault_record *rec)
{
	/* CRC covers everything except the trailing crc field itself. */
	return crc32_ieee((const uint8_t *)rec,
			  sizeof(*rec) - sizeof(rec->crc));
}

static bool record_valid(const struct fault_record *rec)
{
	return ((rec->magic == FAULT_RECORD_MAGIC) &&
		(rec->crc == record_crc(rec)));
}

bool fault_record_load(uint32_t *cause_out)
{
	bool present = false;

	if ((cause_out != NULL) && record_valid(&s_rec) && (s_rec.cause != 0U)) {
		*cause_out = s_rec.cause;
		present = true;
	}

	return present;
}

void fault_record_store(uint32_t cause)
{
	uint32_t count = 0U;

	/* Preserve the running trip count if the existing record is intact. */
	if (record_valid(&s_rec)) {
		count = s_rec.trip_count;
	}

	s_rec.magic = FAULT_RECORD_MAGIC;
	s_rec.cause = cause;
	s_rec.trip_count = count + 1U;
	s_rec.crc = record_crc(&s_rec);
}

void fault_record_clear(void)
{
	s_rec.magic = 0U;
	s_rec.cause = 0U;
	s_rec.trip_count = 0U;
	s_rec.crc = 0U;
}
```

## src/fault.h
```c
/*
 * Copyright (c) 2026 Guilherme Luiz Moritz
 * SPDX-License-Identifier: Apache-2.0
 *
 * Latched-fault record across reboot (architecture, "Latched fault across
 * reboot"). Stored in a CRC-guarded noinit RAM section that survives a warm
 * reset (watchdog / software reboot). A full power cycle clears it, which is
 * the desired default: cold boot always starts DISARMED and un-faulted.
 *
 * NVS mirroring (survives power loss) is future work; the storage_partition is
 * already reserved in the board overlays for it.
 */

#ifndef OVEN_FAULT_H_
#define OVEN_FAULT_H_

#include <stdint.h>
#include <stdbool.h>

/*
 * Load a previously latched fault cause. Returns true and writes *cause_out
 * when a valid record with a non-zero cause survived the reset; false
 * otherwise. Safe to call once, early in main().
 */
bool fault_record_load(uint32_t *cause_out);

/* Persist the current fault cause. Called from fault_raise() on first trip. */
void fault_record_store(uint32_t cause);

/*
 * Clear the record (operator acknowledgement path — mirrors the electrical
 * manual re-arm). Not wired to an input in this bootstrap.
 */
void fault_record_clear(void);

#endif /* OVEN_FAULT_H_ */
```

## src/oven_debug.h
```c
/*
 * Copyright (c) 2026 Guilherme Luiz Moritz
 * SPDX-License-Identifier: Apache-2.0
 *
 * Bench diagnostics consumer (CONFIG_OVEN_DEBUG). This is the ONLY part of the
 * diagnostics path that is configuration-dependent: the control loop always
 * computes and publishes (see pid_pub.h), and this module is what may or may not
 * be compiled in to read the publication.
 *
 * main() calls oven_debug_init() unconditionally; with CONFIG_OVEN_DEBUG off the
 * call is an empty inline and nothing is linked in. Callers therefore need no
 * #ifdef of their own.
 */

#ifndef OVEN_DEBUG_H_
#define OVEN_DEBUG_H_

#include <zephyr/kernel.h>

#if defined(CONFIG_OVEN_DEBUG)

/*
 * Seed the bench setpoint/gains (CONFIG_OVEN_DEBUG_PRESET) and hand the
 * diagnostics thread its go-ahead. Must be called before g_init_done is set, so
 * the very first control cycle already sees the preset tuning.
 *
 * This does NOT arm the oven. The system still boots DISARMED and the Output
 * thread still refuses to pulse the SSR keep-alive until armed and fault-free.
 */
void oven_debug_init(void);

#else

static inline void oven_debug_init(void)
{
}

#endif /* CONFIG_OVEN_DEBUG */

#endif /* OVEN_DEBUG_H_ */
```
